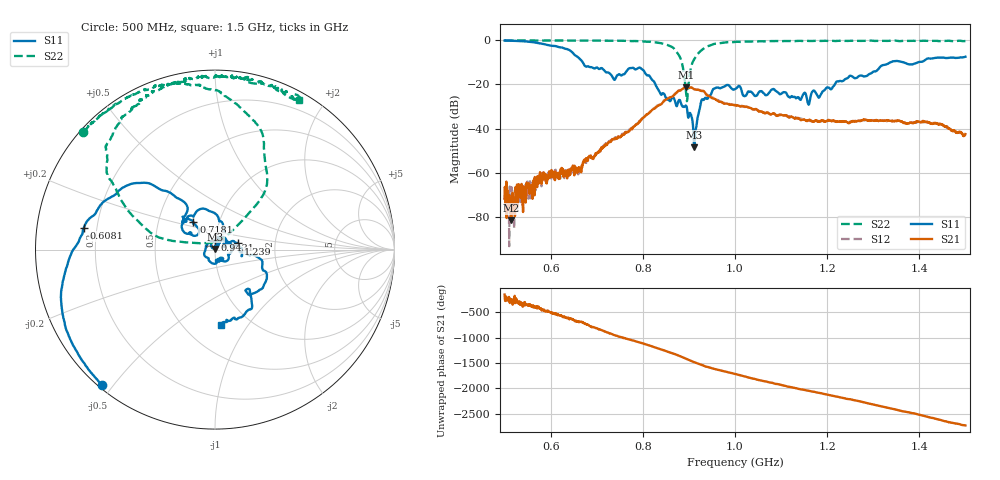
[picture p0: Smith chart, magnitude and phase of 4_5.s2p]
!Agilent Technologies,E8364B,US42250235,A.06.04.32
!Agilent E8364B: A.06.04.32
!Date: Friday, January 15, 2021 15:16:31
!Correction: S11(Full 2 Port(1,2)) S21(Full 2 Port(1,2)) S12(Full 2 Port(1,2)) S22(Full 2 Port(1,2))
!S2P File: Measurements: S11, S21, S12, S22:
# Hz S  dB  R 50
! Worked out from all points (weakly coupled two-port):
!   1601 points, 500 MHz to 1.5 GHz, reference 50 ohm
!   highest |S21| = -21.30 dB at 893.8 MHz (marker M1); lowest = -81.3 dB at 513.8 MHz (marker M2)
!   lowest |S11| = -48.4 dB at 911.2 MHz (marker M3), VSWR 1.01, Z = 50.2 + j0.334 ohm
!   |S11| at or under -10 dB: 669.7 MHz to 1.337 GHz (667.4 MHz wide, 66.5 % of centre); 1.366 GHz to 1.397 GHz (30.47 MHz wide, 2.21 % of centre)
!   |S22| runs from -27.6 to -0.1 dB; largest |S21 - S12| = 0.0079
!   S11 on the Smith chart (normalised r, x): 500 MHz: 0.01, -0.47; 608.1 MHz: 0.15, +0.08; 718.1 MHz: 0.75, +0.24; 943.1 MHz: 0.99, +0.11; 1.239 GHz: 1.29, +0.09; 1.5 GHz: 0.74, -0.76
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5e8  -0.16 -130.0  -71.71 -148.0  -70.03 133.4  -0.14 138.2
5.1375e8  -0.25 -135.9  -81.30 107.2  -77.70 38.9  -0.15 136.3
5.2875e8  -0.38 -143.3  -71.90 40.3  -67.05 67.1  -0.13 135.4
6.08125e8  -2.60 170.7  -59.61 -162.9  -61.68 -160.9  -0.16 127.1
6.66875e8  -9.19 125.3  -57.00 36.5  -56.90 26.6  -0.18 121.3
7.18125e8  -14.19 128.1  -47.32 -159.2  -46.90 -153.8  -0.24 115.4
7.38125e8  -17.92 137.0  -44.52 130.6  -44.34 135.5  -0.32 112.4
7.95e8  -12.56 104.9  -36.49 -16.3  -36.14 -14.5  -0.49 101.6
8.3375e8  -22.42 63.5  -29.55 -133.8  -29.31 -130.2  -1.13 87.9
8.76875e8  -27.66 84.4  -22.95 90.5  -22.84 95.1  -6.28 53.1
8.9375e8  -29.58 55.5  -21.30 24.7  -21.23 28.9  -23.93 60.0
9.1125e8  -48.42 61.2  -22.21 -41.5  -22.08 -37.1  -8.70 165.5
9.28125e8  -26.86 113.7  -22.92 -95.9  -22.97 -91.5  -4.43 151.6
9.43125e8  -25.51 90.1  -25.15 -143.2  -25.07 -138.5  -2.57 144.2
9.58125e8  -21.54 60.0  -26.88 177.6  -26.68 -177.6  -1.55 136.7
1e9  -22.09 -18.3  -29.41 85.0  -29.23 90.0  -0.78 120.6
1.159375e9  -29.02 57.8  -36.08 114.8  -36.33 116.9  -0.31 98.6
1.166875e9  -23.56 51.6  -36.67 97.4  -36.55 104.4  -0.35 96.8
1.239375e9  -17.58 15.0  -36.61 -38.7  -36.75 -33.6  -0.32 89.2
1.33375e9  -10.41 -23.3  -36.38 133.5  -36.49 139.1  -0.31 78.3
1.436875e9  -7.98 -66.4  -37.75 -82.7  -37.44 -77.5  -0.29 69.7
1.5e9  -7.48 -85.4  -42.42 149.1  -43.09 151.4  -0.38 60.6
